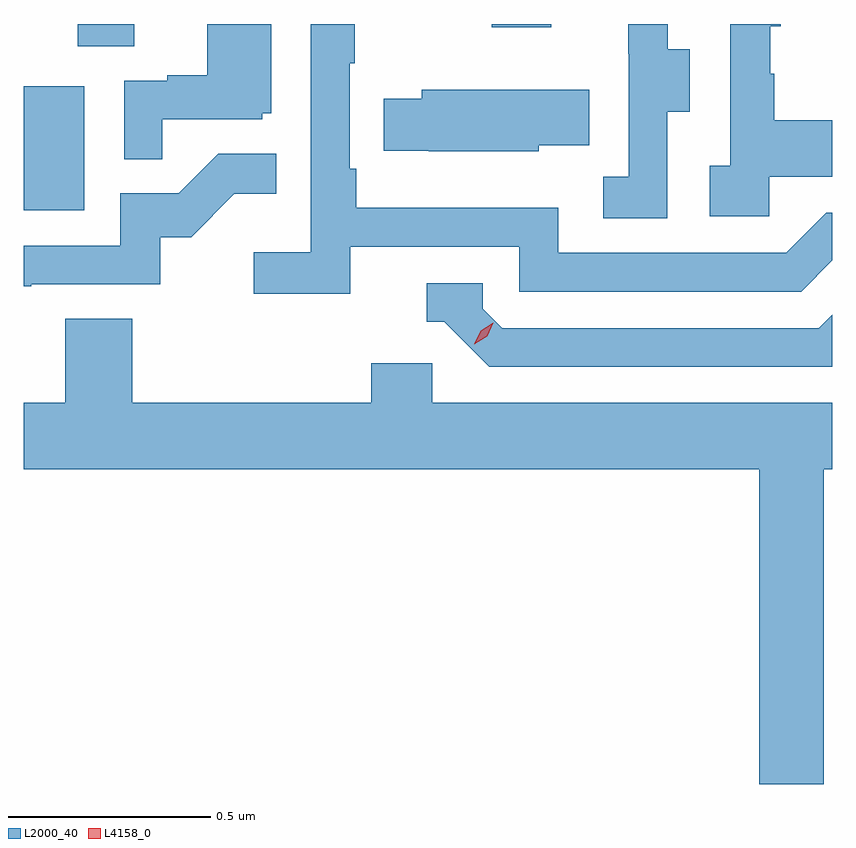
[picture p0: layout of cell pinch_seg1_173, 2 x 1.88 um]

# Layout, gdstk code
import gdstk
lib = gdstk.Library(unit=1e-6, precision=1e-09)
def R(c, l, rs):  # rectangles x0, y0, x1, y1
    for r in rs: c.add(gdstk.rectangle(r[:2], r[2:], *l))
def P(c, l, *ps):  # polygons
    for p in ps: c.add(gdstk.Polygon(p, *l))
L2000_40 = (2000, 40)
L4158_0 = (4158, 0)

pinch_seg1_173 = lib.new_cell('pinch_seg1_173')
R(pinch_seg1_173, L2000_40, [(1131.256,549.708,1131.406,550.015), (1131.389,550.114,1131.529,550.169), (1132.414,550.161,1132.561,550.169)])
P(pinch_seg1_173, L2000_40, [(1132.064,549.618),(1132.482,549.618),(1132.482,549.507),(1133.179,549.507),(1133.256,549.584),(1133.256,549.702),(1133.241,549.702),(1133.142,549.603),(1132.578,549.603),(1132.578,549.715),(1132.079,549.715),(1132.079,549.811),(1132.062,549.811),(1132.062,550.072),(1132.075,550.072),(1132.075,550.169),(1131.966,550.169),(1131.966,549.604),(1131.825,549.604),(1131.825,549.502),(1132.064,549.502)],
  [(1132.848,549.952),(1132.903,549.952),(1132.903,550.107),(1132.849,550.107),(1132.849,550.169),(1132.751,550.169),(1132.751,550.095),(1132.752,550.095),(1132.752,549.791),(1132.689,549.791),(1132.689,549.688),(1132.848,549.688)],
  [(1133.1,549.791),(1133.256,549.791),(1133.256,549.931),(1133.113,549.931),(1133.113,550.046),(1133.103,550.046),(1133.103,550.164),(1133.128,550.164),(1133.128,550.169),(1133.004,550.169),(1133.004,549.818),(1132.953,549.818),(1132.953,549.693),(1133.1,549.693)],
  [(1131.599,549.933),(1131.846,549.933),(1131.846,549.948),(1131.868,549.948),(1131.868,550.169),(1131.71,550.169),(1131.71,550.042),(1131.611,550.042),(1131.611,550.029),(1131.504,550.029),(1131.504,549.835),(1131.599,549.835)],
  [(1132.53,549.869),(1132.655,549.869),(1132.655,550.006),(1132.241,550.006),(1132.241,549.984),(1132.147,549.984),(1132.147,549.855),(1132.258,549.855),(1132.258,549.854),(1132.53,549.854)],
  [(1131.275,549.525),(1131.594,549.525),(1131.594,549.642),(1131.67,549.642),(1131.777,549.749),(1131.881,549.749),(1131.881,549.848),(1131.737,549.848),(1131.639,549.75),(1131.495,549.75),(1131.495,549.621),(1131.256,549.621),(1131.256,549.52),(1131.275,549.52)],
  [(1133.256,549.45),(1133.223,549.417),(1132.44,549.417),(1132.392,549.465),(1132.392,549.528),(1132.253,549.528),(1132.253,549.432),(1132.296,549.432),(1132.407,549.321),(1133.256,549.321)],
  [(1133.235,549.068),(1133.256,549.068),(1133.256,549.232),(1132.266,549.232),(1132.266,549.33),(1132.115,549.33),(1132.115,549.232),(1131.524,549.232),(1131.524,549.44),(1131.359,549.44),(1131.359,549.232),(1131.256,549.232),(1131.256,549.068),(1133.075,549.068),(1133.075,548.289),(1133.235,548.289)])
P(pinch_seg1_173, L4158_0, [(1132.371,549.377),(1132.371,549.378),(1132.387,549.41),(1132.417,549.43),(1132.417,549.43),(1132.417,549.43),(1132.402,549.397),(1132.371,549.377)])

lib.write_gds('pinch_seg1_173.gds')
